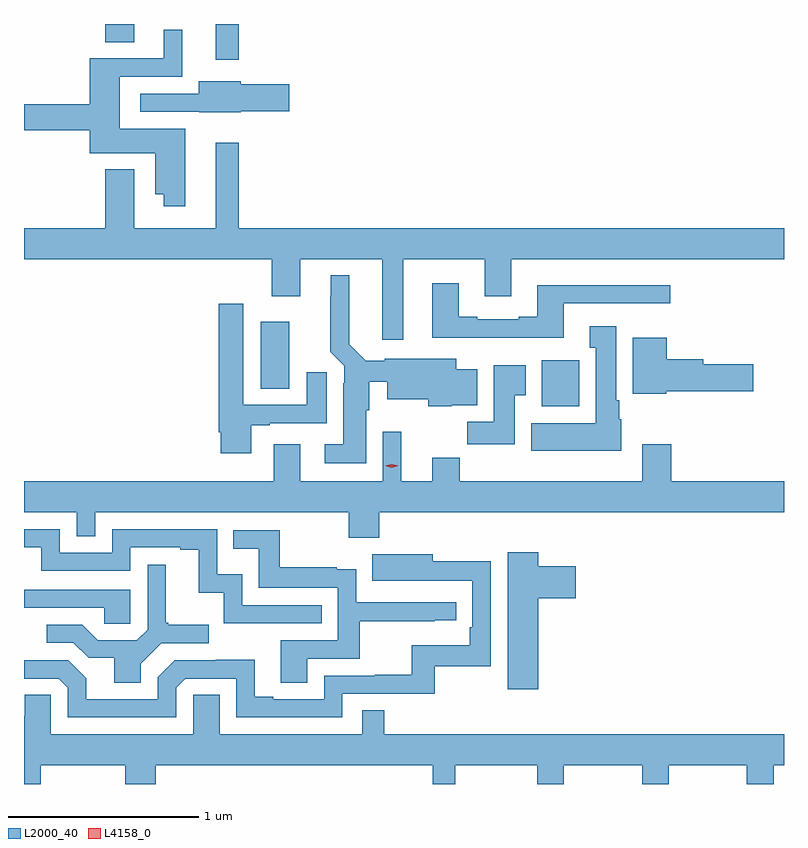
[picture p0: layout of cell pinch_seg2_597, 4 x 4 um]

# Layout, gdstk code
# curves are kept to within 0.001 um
import gdstk
lib = gdstk.Library(unit=1e-6, precision=1e-09)
def R(c, l, rs):  # rectangles x0, y0, x1, y1
    for r in rs: c.add(gdstk.rectangle(r[:2], r[2:], *l))
def P(c, l, *ps):  # polygons
    for p in ps: c.add(gdstk.Polygon(p, *l))
L2000_40 = (2000, 40)
L4158_0 = (4158, 0)

pinch_seg2_597 = lib.new_cell('pinch_seg2_597')
R(pinch_seg2_597, L2000_40, [(1050.845,609.566,1051.042,609.808), (1049.366,609.658,1049.515,610.012), (1049.129,611.391,1049.251,611.578), (1048.547,611.482,1048.699,611.578)])
P(pinch_seg2_597, L2000_40, [(1048.969,611.026),(1048.624,611.026),(1048.624,611.301),(1048.954,611.301),(1048.954,611.548),(1048.856,611.548),(1048.856,611.397),(1048.466,611.397),(1048.466,611.156),(1048.12,611.156),(1048.12,611.02),(1048.466,611.02),(1048.466,610.898),(1048.811,610.898),(1048.811,610.682),(1048.856,610.682),(1048.856,610.619),(1048.969,610.619)],
  [(1049.262,611.12),(1049.515,611.12),(1049.515,611.262),(1049.262,611.262),(1049.262,611.278),(1049.039,611.278),(1049.039,611.211),(1048.731,611.211),(1048.731,611.115),(1049.043,611.115),(1049.043,611.114),(1049.262,611.114)],
  [(1049.423,610.146),(1049.575,610.146),(1049.575,610.34),(1050.005,610.34),(1050.005,609.915),(1050.115,609.915),(1050.115,610.34),(1050.545,610.34),(1050.545,610.146),(1050.685,610.146),(1050.685,610.34),(1052.12,610.34),(1052.12,610.504),(1049.251,610.504),(1049.251,610.954),(1049.129,610.954),(1049.129,610.504),(1048.699,610.504),(1048.699,610.813),(1048.547,610.813),(1048.547,610.504),(1048.12,610.504),(1048.12,610.34),(1049.423,610.34)],
  [(1049.92,609.546),(1049.938,609.546),(1049.938,609.695),(1050.032,609.695),(1050.032,609.602),(1050.247,609.602),(1050.247,609.566),(1050.372,609.566),(1050.372,609.572),(1050.505,609.572),(1050.505,609.76),(1050.394,609.76),(1050.394,609.817),(1050.018,609.817),(1050.018,609.805),(1049.919,609.805),(1049.833,609.892),(1049.833,610.255),(1049.735,610.255),(1049.735,610.145),(1049.731,610.145),(1049.731,609.854),(1049.805,609.78),(1049.805,609.686),(1049.801,609.686),(1049.801,609.367),(1049.703,609.367),(1049.703,609.266),(1049.92,609.266)],
  [(1050.961,610.107),(1051.522,610.107),(1051.522,610.204),(1050.821,610.204),(1050.821,610.036),(1050.725,610.036),(1050.725,610.023),(1050.505,610.023),(1050.505,610.036),(1050.409,610.036),(1050.409,610.213),(1050.269,610.213),(1050.269,609.926),(1050.961,609.926)],
  [(1049.317,609.465),(1049.413,609.465),(1049.413,609.477),(1049.713,609.477),(1049.713,609.745),(1049.609,609.745),(1049.609,609.573),(1049.275,609.573),(1049.275,610.105),(1049.144,610.105),(1049.144,609.43),(1049.156,609.43),(1049.156,609.318),(1049.317,609.318)],
  [(1051.264,609.498),(1051.252,609.498),(1051.252,609.598),(1051.237,609.598),(1051.237,609.988),(1051.097,609.988),(1051.097,609.875),(1051.13,609.875),(1051.13,609.478),(1050.791,609.478),(1050.791,609.332),(1051.264,609.332)],
  [(1051.5,609.646),(1051.957,609.646),(1051.957,609.788),(1051.696,609.788),(1051.696,609.813),(1051.504,609.813),(1051.504,609.928),(1051.325,609.928),(1051.325,609.632),(1051.5,609.632)],
  [(1050.703,609.625),(1050.76,609.625),(1050.76,609.781),(1050.593,609.781),(1050.593,609.484),(1050.454,609.484),(1050.454,609.366),(1050.703,609.366)],
  [(1049.99,609.008),(1052.12,609.008),(1052.12,609.172),(1051.526,609.172),(1051.526,609.367),(1051.373,609.367),(1051.373,609.172),(1050.413,609.172),(1050.413,609.296),(1050.269,609.296),(1050.269,609.172),(1050.106,609.172),(1050.106,609.433),(1050.009,609.433),(1050.009,609.172),(1049.575,609.172),(1049.575,609.367),(1049.435,609.367),(1049.435,609.172),(1048.12,609.172),(1048.12,609.008),(1048.398,609.008),(1048.398,608.881),(1048.494,608.881),(1048.494,609.008),(1049.83,609.008),(1049.83,608.873),(1049.99,608.873)],
  [(1049.687,608.52),(1049.268,608.52),(1049.268,608.683),(1049.136,608.683),(1049.136,608.919),(1048.584,608.919),(1048.584,608.796),(1048.308,608.796),(1048.308,608.919),(1048.12,608.919),(1048.12,608.823),(1048.212,608.823),(1048.212,608.7),(1048.68,608.7),(1048.68,608.823),(1048.943,608.823),(1048.943,608.811),(1049.039,608.811),(1049.039,608.585),(1049.172,608.585),(1049.172,608.424),(1049.687,608.424)],
  [(1049.611,608.238),(1049.888,608.238),(1049.888,608.434),(1050.281,608.434),(1050.281,608.439),(1050.394,608.439),(1050.394,608.535),(1049.868,608.535),(1049.868,608.707),(1049.765,608.707),(1049.765,608.719),(1049.467,608.719),(1049.467,608.913),(1049.221,608.913),(1049.221,608.816),(1049.356,608.816),(1049.356,608.61),(1049.772,608.61),(1049.772,608.334),(1049.471,608.334),(1049.471,608.11),(1049.611,608.11)],
  [(1050.826,608.555),(1051.024,608.555),(1051.024,608.725),(1050.826,608.725),(1050.826,608.797),(1050.665,608.797),(1050.665,608.076),(1050.826,608.076)],
  [(1048.92,608.085),(1048.968,608.133),(1049.238,608.133),(1049.238,607.929),(1049.796,607.929),(1049.796,608.052),(1050.283,608.052),(1050.283,608.199),(1050.576,608.199),(1050.576,608.75),(1050.271,608.75),(1050.271,608.788),(1049.953,608.788),(1049.953,608.648),(1050.48,608.649),(1050.48,608.404),(1050.467,608.404),(1050.467,608.308),(1050.162,608.308),(1050.162,608.153),(1049.965,608.153),(1049.965,608.148),(1049.7,608.148),(1049.7,608.025),(1049.431,608.025),(1049.431,608.038),(1049.335,608.038),(1049.335,608.231),(1049.13,608.231),(1049.13,608.229),(1048.914,608.229),(1048.824,608.139),(1048.824,608.025),(1048.447,608.025),(1048.447,608.135),(1048.353,608.229),(1048.12,608.229),(1048.12,608.133),(1048.302,608.133),(1048.35,608.085),(1048.35,607.929),(1048.92,607.929)],
  [(1048.735,608.212),(1048.842,608.319),(1049.092,608.319),(1049.092,608.416),(1048.879,608.416),(1048.879,608.428),(1048.867,608.428),(1048.867,608.731),(1048.77,608.731),(1048.77,608.391),(1048.713,608.334),(1048.507,608.334),(1048.426,608.415),(1048.239,608.415),(1048.239,608.322),(1048.38,608.322),(1048.46,608.242),(1048.595,608.242),(1048.595,608.11),(1048.735,608.11)],
  [(1048.68,608.601),(1048.12,608.601),(1048.12,608.505),(1048.543,608.505),(1048.543,608.421),(1048.68,608.421)],
  [(1048.209,607.676),(1048.654,607.676),(1048.654,607.578),(1048.814,607.578),(1048.814,607.676),(1050.27,607.676),(1050.27,607.578),(1050.391,607.578),(1050.391,607.676),(1050.821,607.676),(1050.821,607.578),(1050.961,607.578),(1050.961,607.676),(1051.373,607.676),(1051.373,607.578),(1051.513,607.578),(1051.513,607.676),(1051.925,607.676),(1051.925,607.578),(1052.065,607.578),(1052.065,607.676),(1052.12,607.676),(1052.12,607.84),(1050.017,607.84),(1050.017,607.967),(1049.901,607.967),(1049.901,607.84),(1049.149,607.84),(1049.149,608.048),(1049.01,608.048),(1049.01,607.84),(1048.26,607.84),(1048.26,608.048),(1048.123,608.048),(1048.123,607.938),(1048.12,607.938),(1048.12,607.578),(1048.209,607.578)])
P(pinch_seg2_597, L4158_0, [(1050.056,609.242),(1050.02,609.252),(1050.02,609.252),(1050.02,609.253),(1050.056,609.262),(1050.091,609.253),(1050.091,609.252),(1050.091,609.252)])

lib.write_gds('pinch_seg2_597.gds')
